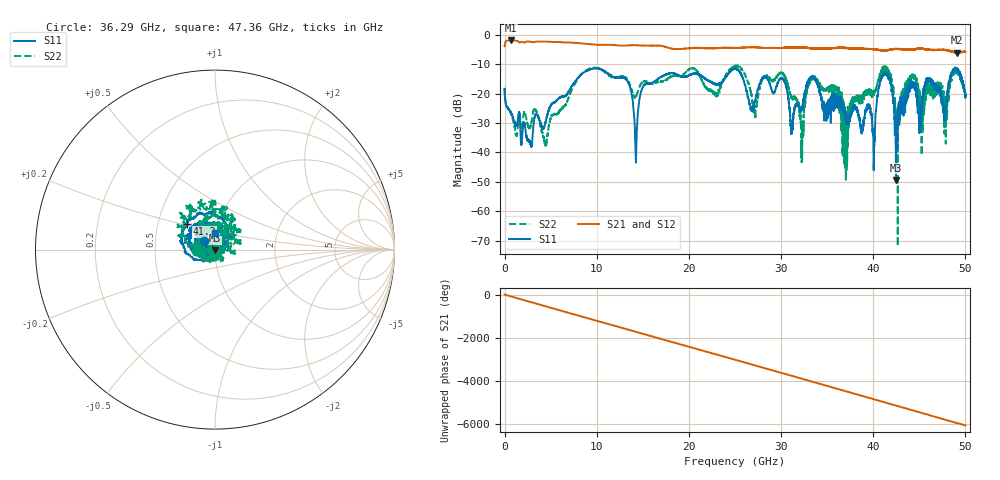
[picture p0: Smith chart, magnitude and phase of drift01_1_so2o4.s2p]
!Created with skrf (http://scikit-rf.org).
# Hz S RI R 50.0
!freq ReS11 ImS11 ReS21 ImS21 ReS12 ImS12 ReS22 ImS22
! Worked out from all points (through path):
!   10001 points, 300 kHz to 50 GHz, reference 50 ohm
!   highest |S21| = -2.00 dB at 710.3 MHz (marker M1); lowest = -6.1 dB at 49.05 GHz (marker M2)
!   group delay of S21, straight-line fit = 336 ps
!   lowest |S11| = -49.3 dB at 42.46 GHz (marker M3), VSWR 1.01, Z = 50 - j0.338 ohm
!   |S11| at or under -10 dB: start of sweep to end of sweep
!   |S22| runs from -71.8 to -10.5 dB; largest |S21 - S12| = 0.018
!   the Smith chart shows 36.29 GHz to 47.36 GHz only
!   S11 on the Smith chart (normalised r, x): 36.29 GHz: 0.88, +0.08; 41.2 GHz: 0.70, +0.21; 47.36 GHz: 0.98, +0.18
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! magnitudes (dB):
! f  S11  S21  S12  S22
! 300 kHz  -18.4  -4.0  -4.1  -18.1
! 710.3 MHz  -26.6  -2.0  -2.0  -26.8
! 4.43 GHz  -29.8  -2.4  -2.4  -37.4
! 8.335 GHz  -13.4  -3.0  -3.0  -13.5
! 13.16 GHz  -15.1  -3.8  -3.8  -14.7
! 14.25 GHz  -42.0  -3.6  -3.6  -21.1
! 16.67 GHz  -14.9  -3.7  -3.7  -15.9
! 25 GHz  -11.6  -4.5  -4.6  -10.8
! 27.14 GHz  -22.8  -4.3  -4.3  -25.7
! 30.19 GHz  -15.1  -4.5  -4.5  -13.3
! 32.23 GHz  -25.0  -4.4  -4.4  -43.3
! 33.34 GHz  -14.3  -4.7  -4.6  -14.5
! 36.29 GHz  -22.0  -4.6  -4.6  -19.5
! 37.03 GHz  -27.0  -4.5  -4.6  -31.8
! 40.03 GHz  -38.3  -5.0  -5.0  -20.8
! 41.2 GHz  -13.5  -5.4  -5.5  -11.2
! 41.67 GHz  -14.5  -5.2  -5.2  -12.1
! 42.46 GHz  -49.3  -4.8  -4.9  -38.8
! 44.16 GHz  -16.8  -5.1  -5.1  -14.0
! 47.36 GHz  -20.9  -5.2  -5.2  -19.2
! 49.05 GHz  -11.6  -6.1  -6.1  -12.3
! 50 GHz  -20.4  -5.9  -5.9  -19.8
